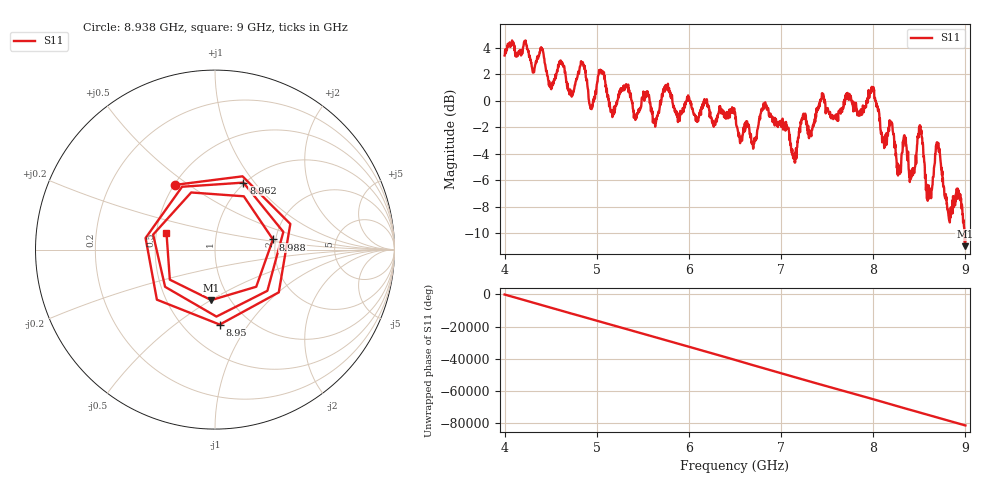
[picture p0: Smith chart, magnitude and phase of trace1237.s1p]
! Created with skrf 1.8.0 (http://scikit-rf.org).
# Hz S RI R 50.0
!freq ReS11 ImS11
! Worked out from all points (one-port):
!   1601 points, 4 GHz to 9 GHz, reference 50 ohm
!   lowest |S11| = -11.0 dB at 8.994 GHz (marker M1), VSWR 1.79, Z = 41 - j25.1 ohm
!   |S11| at or under -10 dB: 8.989849 GHz to end of sweep
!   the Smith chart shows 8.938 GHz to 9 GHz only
!   S11 on the Smith chart (normalised r, x): 8.938 GHz: 0.50, +0.44; 8.95 GHz: 0.73, -0.74; 8.962 GHz: 0.99, +0.88; 8.988 GHz: 1.93, +0.25; 9 GHz: 0.57, +0.12
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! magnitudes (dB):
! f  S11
! 4 GHz  3.4
! 4.625 GHz  2.7
! 4.722 GHz  0.5
! 4.853 GHz  2.8
! 4.938 GHz  -0.5
! 5.044 GHz  2.2
! 5.159 GHz  -0.7
! 5.25 GHz  0.5
! 5.875 GHz  -1.0
! 6.5 GHz  -0.9
! 6.703 GHz  -3.1
! 6.834 GHz  -0.3
! 7.125 GHz  -4.1
! 7.441 GHz  0.2
! 7.75 GHz  0.2
! 7.991 GHz  0.7
! 8.275 GHz  -5.2
! 8.375 GHz  -4.2
! 8.506 GHz  -1.8
! 8.597 GHz  -7.0
! 8.7 GHz  -3.3
! 8.822 GHz  -9.0
! 8.938 GHz  -7.4
! 8.95 GHz  -7.6
! 8.962 GHz  -7.8
! 8.988 GHz  -9.7
! 8.994 GHz  -11.0
! 9 GHz  -10.9
